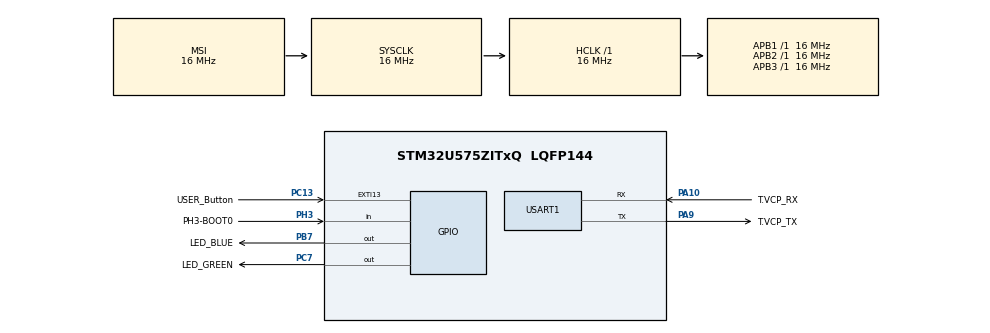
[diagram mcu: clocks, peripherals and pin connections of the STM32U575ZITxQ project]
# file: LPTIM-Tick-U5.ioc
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CORTEX_M33_NS.userName=CORTEX_M33
Mcu.Family=STM32U5
Mcu.Name=STM32U575ZITxQ
Mcu.Package=LQFP144
NVIC.EXTI13_IRQn=true\:15\:0\:true\:false\:true\:true\:true\:true
NVIC.LPTIM3_IRQn=true\:15\:0\:true\:false\:true\:true\:true\:true
NVIC.PriorityGroup=NVIC_PRIORITYGROUP_4
NVIC.TIM17_IRQn=true\:15\:0\:false\:false\:true\:false\:true\:true
NVIC.TimeBase=TIM17_IRQn
NVIC.TimeBaseIP=TIM17
NVIC.USART1_IRQn=true\:15\:0\:true\:false\:true\:true\:true\:true
PA10.GPIO_Label=T.VCP_RX
PA10.Mode=Asynchronous
PA10.Signal=USART1_RX
PA13\ (JTMS/SWDIO).GPIO_Label=T.SWDIO
PA13\ (JTMS/SWDIO).Mode=Trace_Asynchronous_SW
PA13\ (JTMS/SWDIO).Signal=DEBUG_JTMS-SWDIO
PA14\ (JTCK/SWCLK).GPIO_Label=T.SWCLK
PA14\ (JTCK/SWCLK).Mode=Trace_Asynchronous_SW
PA14\ (JTCK/SWCLK).Signal=DEBUG_JTCK-SWCLK
PA9.GPIO_Label=T.VCP_TX
PA9.Mode=Asynchronous
PA9.Signal=USART1_TX
PB3\ (JTDO/TRACESWO).GPIO_Label=T.SWO
PB3\ (JTDO/TRACESWO).Mode=Trace_Asynchronous_SW
PB3\ (JTDO/TRACESWO).Signal=DEBUG_JTDO-SWO
PB7.GPIO_Label=LED_BLUE
PB7.Signal=GPIO_Output
PC13.GPIO_Label=USER_Button
PC13.GPIO_ModeDefaultEXTI=GPIO_MODE_IT_RISING
PC13.Signal=GPXTI13
PC14-OSC32_IN\ (PC14).GPIO_Label=PC14-OSC32_IN
PC14-OSC32_IN\ (PC14).Mode=LSE-External-Oscillator
PC14-OSC32_IN\ (PC14).Signal=RCC_OSC32_IN
PC15-OSC32_OUT\ (PC15).GPIO_Label=PC15-OSC32_OUT
PC15-OSC32_OUT\ (PC15).Mode=LSE-External-Oscillator
PC15-OSC32_OUT\ (PC15).Signal=RCC_OSC32_OUT
PC7.GPIO_Label=LED_GREEN
PC7.Signal=GPIO_Output
PH3-BOOT0.GPIO_Label=PH3-BOOT0
PH3-BOOT0.Signal=GPIO_Input
PWR.PowerMode=PWR_SMPS_SUPPLY
ProjectManager.HeapSize=0x200
ProjectManager.StackSize=0x400
ProjectManager.TargetToolchain=Makefile
RCC.ADCFreq_Value=16000000
RCC.AHBFreq_Value=16000000
RCC.APB1Freq_Value=16000000
RCC.APB1TimFreq_Value=16000000
RCC.APB2Freq_Value=16000000
RCC.APB2TimFreq_Value=16000000
RCC.APB3Freq_Value=16000000
RCC.CortexFreq_Value=16000000
RCC.DACCLockSelectionVirtual=RCC_DAC1CLKSOURCE_LSI
RCC.EPOD_VALUE=16000000
RCC.FLatency=FLASH_LATENCY_1
RCC.HCLKFreq_Value=16000000
RCC.HSE_VALUE=16000000
RCC.HSI48_VALUE=48000000
RCC.HSI_VALUE=16000000
RCC.LPTIM3CLockSelectionVirtual=RCC_LPTIM34CLKSOURCE_LSE
RCC.LSE_Drive_Capability=RCC_LSEDRIVE_MEDIUMHIGH
RCC.LSIDIV_VALUE=32000
RCC.MSIAutoCalibration=PLLMODE_MSIS
RCC.MSIClockRange=RCC_MSIRANGE_2
RCC.MSIPLLFAST=false
RCC.MSI_VALUE=16000000
RCC.PLLN=80
RCC.PWR_Regulator_Voltage_Scale=PWR_REGULATOR_VOLTAGE_SCALE4
RCC.RTCClockSelection=RCC_RTCCLKSOURCE_LSE
RCC.SYSCLKFreq_VALUE=16000000
RCC.USBFreq_Value=48000000
RCC.VCOOutputFreq_Value=1280000000
RTC.AsynchPrediv=3
RTC.SynchPrediv=8191
USART1.VirtualMode-Asynchronous=VM_ASYNC
VP_LPBAMQUEUE_VS_QUEUE.Mode=QUEUEMODE
VP_LPBAM_VS_SIG1.Mode=SmartRun
VP_LPBAM_VS_SIG4.Mode=LPDMA1
VP_LPTIM3_VS_LPTIM_counterModeInternalClock.Mode=Counts__internal_clock_event_00
VP_MEMORYMAP_VS_MEMORYMAP.Mode=CurAppReg
VP_PWR_VS_DBSignals.Mode=DisableDeadBatterySignals
VP_PWR_VS_LPOM.Mode=PowerOptimisation
VP_PWR_VS_SECSignals.Mode=Security/Privilege
VP_RTC_VS_RTC_Activate.Mode=RTC_Enabled
VP_SYS_VS_tim17.Mode=TIM17
board=custom

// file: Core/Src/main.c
/* USER CODE BEGIN Header */
/**
  ******************************************************************************
  * @file           : main.c
  * @brief          : Main program body
  ******************************************************************************
  * @attention
  *
  * Copyright (c) 2022 STMicroelectronics.
  * All rights reserved.
  *
  * This software is licensed under terms that can be found in the LICENSE file
  * in the root directory of this software component.
  * If no LICENSE file comes with this software, it is provided AS-IS.
  *
  ******************************************************************************
  */
/* USER CODE END Header */
#include "main.h"

/* USER CODE BEGIN Includes */
#include "FreeRTOS.h"
#include "task.h"
#include "timers.h"
#include <stdio.h>
#include <string.h>
#include "testTickTiming.h"
#include "ulp.h"

/* USER CODE END Includes */

/* USER CODE BEGIN PD */
#define B1_Pin    USER_Button_Pin
#define B1_Port   USER_Button_GPIO_Port

#define LED_On    GPIO_PIN_RESET
#define LED_Off   GPIO_PIN_SET

#define NOTIFICATION_FLAG_B1_PIN    (1UL << 0)
#define NOTIFICATION_FLAG_LED_BLIP  (1UL << 1)
#define NOTIFICATION_FLAG_RESULTS   (1UL << 2)

#define STACK_DEPTH_MAIN_OS_TASK    256
#define TASK_PRIORITY_MAIN_OS_TASK  1

#define STACK_DEPTH_TT_OS_TASK      256
#define TASK_PRIORITY_TT_OS_TASK    2

/* USER CODE END PD */

LPTIM_HandleTypeDef hlptim3;

RTC_HandleTypeDef hrtc;

UART_HandleTypeDef huart1;

/* USER CODE BEGIN PV */

TaskHandle_t  mainTaskHandle;
TimerHandle_t ledTimerHandle;
TimerHandle_t resultsTimerHandle;

/* USER CODE END PV */

void SystemClock_Config(void);
static void SystemPower_Config(void);
static void MX_GPIO_Init(void);
static void MX_LPTIM3_Init(void);
static void MX_RTC_Init(void);
static void MX_USART1_UART_Init(void);
/* USER CODE BEGIN PFP */

static void mainOsTask(void* argument);
static void ledTimerCallback(TimerHandle_t argument);
static void resultsTimerCallback(TimerHandle_t argument);

/* USER CODE END PFP */

/* USER CODE BEGIN 0 */
#define DEMO_STATE_TEST_1  0
#define DEMO_STATE_TEST_2  1
#define DEMO_STATE_TEST_3  2
#define MAX_DEMO_STATE     DEMO_STATE_TEST_3
static void vSetDemoState( BaseType_t state )
{
   //      Assume for now that we're activating a demo state that doesn't need LPTIM3, our stress-test actor.
   //
   if (LPTIM3->CR & LPTIM_CR_ENABLE)
   {
      HAL_LPTIM_Counter_Stop_IT(&hlptim3);
   }

   uint32_t ledIntervalMs = 0;
   if (state == DEMO_STATE_TEST_1)
   {
      //      Demonstrate minimum energy consumption.  With configUSE_TICKLESS_IDLE == 2 (lptimTick.c), we
      // draw only 9uA, with full RAM retention, with RTC, and with FreeRTOS timers/timeouts/delays active.
      //
      ledIntervalMs = 5000UL;
      vTttSetEvalInterval( portMAX_DELAY );
      xTimerStop(resultsTimerHandle, 0);
   }
   else if (state == DEMO_STATE_TEST_2)
   {
      //      Instruct the tick-timing test to sample the tick timing every 10 milliseconds.  Sampling faster
      // would require that we open the pass/fail criteria to accommodate a couple hundred microseconds of
      // jitter or tick "jump" since that criteria is expressed as a percentage of the sampling interval.
      // Sampling much slower might allow large jitter or "jump" that should be caught as an error, again
      // because jitter is measured as a percentage of the sampling interval.
      //
      #define TICK_TEST_SAMPLING_INTERVAL_MS 10

      //      Demonstrate energy consumption waking every 10ms, and test the tick timing.
      //
      ledIntervalMs = 2000UL;
      vTttSetEvalInterval( pdMS_TO_TICKS(TICK_TEST_SAMPLING_INTERVAL_MS) );
      xTimerStart(resultsTimerHandle, 0);
   }
   else if (state == DEMO_STATE_TEST_3)
   {
      //      In state 2, add an actor to stress the tick timing.  Use LPTIM3 interrupts since that timer
      // keeps operating in STOP 2 mode, which allows us to keep demonstrating low-power operation.
      //
      //      A good long soak test is strongly recommended here.
      //
      HAL_LPTIM_Counter_Start_IT(&hlptim3);

      ledIntervalMs = 1000UL;
      vTttSetEvalInterval( pdMS_TO_TICKS(TICK_TEST_SAMPLING_INTERVAL_MS) );
      xTimerStart(resultsTimerHandle, 0);
   }
   else
   {
      configASSERT(0);
   }

   if (ledIntervalMs != 0)
   {
      xTimerChangePeriod(ledTimerHandle, ledIntervalMs, 0);
      xTaskNotify(mainTaskHandle, NOTIFICATION_FLAG_LED_BLIP, eSetBits);
   }

   char banner[100];
   int len = sprintf(banner, "\r\n\r\nRunning Test %d.", (int)state + 1);
   if (state != DEMO_STATE_TEST_1)
   {
      len += sprintf(&banner[len], "  Jumps are shown as %% of %d ms.\r\n",
                     TICK_TEST_SAMPLING_INTERVAL_MS);
   }
   HAL_UART_Transmit(&huart1, (uint8_t*)banner, len, HAL_MAX_DELAY);
}

static int lDescribeTickTestResults(TttResults_t* results, int periodNumber, char* dest)
{
   int durationSeconds = (results->durationSs + results->subsecondsPerSecond/2) / results->subsecondsPerSecond;
   return (sprintf(dest, "Period %d: %d s, drift: %d/%d s, jump: %+d%% (min), %+d%% (max)",
                   periodNumber,
                   durationSeconds,
                   (int)results->driftSs, (int) results->subsecondsPerSecond,
                   results->minDriftRatePct,
                   results->maxDriftRatePct));
}

static BaseType_t xUpdateResults( int xDemoState )
{
   static int resultsCount = 0;

   TttResults_t complete, inProgress;
   vTttGetResults(&complete, &inProgress);

   //      Build the results text here.  Use a "large" buffer because the results might require two lines of
   // terminal output.  The buffer is static so its contents remain valid even after we return from this
   // function.  In turn this allows us to return to our caller without waiting for the UART to finish.
   //
   static char textResults[200];
   static const char* const eraseLine = "\r\x1B[K";
   int resultsLen = sprintf(textResults, "%s", eraseLine);

   if (resultsCount != complete.resultsCounter)
   {
      resultsCount = complete.resultsCounter;
      if (resultsCount != 0)
      {
         resultsLen += lDescribeTickTestResults(&complete, resultsCount, &textResults[resultsLen]);
         resultsLen += sprintf(&textResults[resultsLen], "\r\n");
      }
   }

   resultsLen += lDescribeTickTestResults(&inProgress, resultsCount + 1, &textResults[resultsLen]);

   //      Send the results to the terminal.  In test 3, use interrupt-driven I/O with the terminal as
   // a way to enhance the stress test.  The interrupts induce a rapid sequence of early wake-ups from
   // tickless idle (if enabled).  This barrage of early wake-ups is a great stress test for the tickless
   // logic.  In the other demo states, use busy-wait I/O to avoid adding a test actor when we don't want one.
   //
   if (xDemoState == DEMO_STATE_TEST_3)
   {
      vUlpOnPeripheralsActive(ulpPERIPHERAL_USART1);
      HAL_UART_Transmit_IT(&huart1, (uint8_t*)textResults, resultsLen);
   }
   else
   {
      //      Because busy-wait I/O keeps this task "ready", it also prevents tickless idle, so we don't need
      // to bother notifying the ULP driver that the UART peripheral is active.
      //
      // vUlpOnPeripheralsActive(ulpPERIPHERAL_USART1);
      HAL_UART_Transmit(&huart1, (uint8_t*)textResults, resultsLen, HAL_MAX_DELAY);
      // vUlpOnPeripheralsInactive(ulpPERIPHERAL_USART1);
   }

   //      Apply some pass/fail criteria and report any failures.
   //
   #if ( configLPTIM_DIVIDER == 8 )
      #define TEST_LIMIT_PCT_JITTER_MIN -3
      #define TEST_LIMIT_PCT_JITTER_MAX +5
   #else
      #define TEST_LIMIT_PCT_JITTER_MIN -2
      #define TEST_LIMIT_PCT_JITTER_MAX +2
   #endif
   BaseType_t isFailure = pdFALSE;
   if (inProgress.minDriftRatePct < TEST_LIMIT_PCT_JITTER_MIN ||
       inProgress.maxDriftRatePct > TEST_LIMIT_PCT_JITTER_MAX)
   {
      isFailure = pdTRUE;
   }

   return (isFailure);
}

void HAL_UART_TxCpltCallback(UART_HandleTypeDef *huart)
{
   vUlpOnPeripheralsInactiveFromISR(ulpPERIPHERAL_USART1);
}

void vBlipLed( uint32_t ms )
{
   HAL_GPIO_WritePin(LED_GREEN_GPIO_Port, LED_GREEN_Pin, LED_On);
   vTaskDelay(pdMS_TO_TICKS(ms));
   HAL_GPIO_WritePin(LED_GREEN_GPIO_Port, LED_GREEN_Pin, LED_Off);
}

/* USER CODE END 0 */

int main(void)
{

  /* MCU Configuration--------------------------------------------------------*/

  /* Reset of all peripherals, Initializes the Flash interface and the Systick. */
  HAL_Init();

  /* USER CODE BEGIN Init */

  //      Correct a bug in CubeMX.  We selected MSIS auto-calibration (not MSIK), but CubeMX fails to set
  // MSIPLLSEL as required.  So we do it here ourselves -- and *before* PLL mode becomes enabled.
  //
  RCC->CR |= RCC_CR_MSIPLLSEL;

  /* USER CODE END Init */

  /* Configure the system clock */
  SystemClock_Config();

  /* Configure the System Power */
  SystemPower_Config();

  /* USER CODE BEGIN SysInit */

  #if (configSYSTICK_CLOCK_HZ == LSE_VALUE)
  {
    //      Select the 32kHz LSE clock as the "other" SysTick clock.  FreeRTOS selects this "other" clock for
    // SysTick when we define configSYSTICK_CLOCK_HZ.  The default selection for the "other" clock after reset
    // is the CPU clock divided by 8.
    //
    MODIFY_REG(RCC->CCIPR1, RCC_CCIPR1_SYSTICKSEL_Msk, RCC_CCIPR1_SYSTICKSEL_1);
  }
  #endif

  vUlpInit();

  /* USER CODE END SysInit */

  /* Initialize all configured peripherals */
  MX_GPIO_Init();
  MX_LPTIM3_Init();
  MX_RTC_Init();
  MX_USART1_UART_Init();
  /* USER CODE BEGIN 2 */

  //      Start with the green and blue LEDs off.
  //
  HAL_GPIO_WritePin(LED_GREEN_GPIO_Port, LED_GREEN_Pin, LED_Off);
  HAL_GPIO_WritePin(LED_BLUE_GPIO_Port, LED_BLUE_Pin, LED_Off);

  //      Carefully select the interval of the nuisance interrupts to be slightly longer than the tick-
  // test sampling interval.  The sampling interval drives the "expected idle time" in the tickless logic,
  // so a nuisance interval slightly longer ensures lots of different interrupt timing, including some
  // tickless periods lasting the full expected idle time.  For example, with a 10ms sampling interval,
  // there are 327.68 LSE cycles between samplings, on average.  The code below would set up the nuisance
  // interrupt to be every 328 LSE cycles for that case.  (The value passed to the HAL is 327, but the
  // period ends up being 328 due to LPTIM reload behavior.)
  //
  hlptim3.Init.Period = (TICK_TEST_SAMPLING_INTERVAL_MS * LSE_VALUE) / 1000U;
  HAL_LPTIM_Init(&hlptim3);

  #if (configUSE_TICKLESS_IDLE != 2)
  {
    //      The tick-timing tests make more accurate evaluations of the tick timing when FreeRTOS has the best
    // possible value in configCPU_CLOCK_HZ.  Since we define that symbol as SystemCoreClock, we update
    // SystemCoreClock here.  This code helped us "prove" that the MSI PLL behaves like a real PLL (albeit a
    // very jittery one).  There's "no" tick drift as measured by the RTC when tickless idle is disabled and
    // the MSI is in PLL mode driving the core clock.
    //
    //      We don't care if the HAL reverts this change at some point later during the application execution.
    // We only want this updated value to endure long enough for FreeRTOS startup code to use it to calculate
    // the tick timing.
    //
    if (RCC->CR & RCC_CR_MSIPLLEN)  // App Specific.  Assumes MSIPLLEN being set means MSI is the core clock.
    {
      int pllModeMultiplier = ( SystemCoreClock + (LSE_VALUE/4) ) / (LSE_VALUE/2);
      SystemCoreClock = (LSE_VALUE/2) * pllModeMultiplier;
    }
  }
  #endif

  resultsTimerHandle = xTimerCreate("Results", pdMS_TO_TICKS(1000UL), pdTRUE, NULL, resultsTimerCallback);
  ledTimerHandle = xTimerCreate("LED", 1, pdTRUE, NULL, ledTimerCallback);

  xTaskCreate(mainOsTask, "App", STACK_DEPTH_MAIN_OS_TASK, NULL, TASK_PRIORITY_MAIN_OS_TASK, &mainTaskHandle);
  xTaskCreate(vTttOsTask, "TickTest", STACK_DEPTH_TT_OS_TASK, &hrtc, TASK_PRIORITY_TT_OS_TASK, NULL);

  vTaskStartScheduler();

  /* USER CODE END 2 */

  /* Infinite loop */
  while (1)
  {

  }
}

void SystemClock_Config(void)
{
  RCC_OscInitTypeDef RCC_OscInitStruct = {0};
  RCC_ClkInitTypeDef RCC_ClkInitStruct = {0};

  /** Configure the main internal regulator output voltage
  */
  if (HAL_PWREx_ControlVoltageScaling(PWR_REGULATOR_VOLTAGE_SCALE4) != HAL_OK)
  {
    Error_Handler();
  }

  /** Configure LSE Drive Capability
  */
  HAL_PWR_EnableBkUpAccess();
  __HAL_RCC_LSEDRIVE_CONFIG(RCC_LSEDRIVE_MEDIUMHIGH);

  /** Initializes the CPU, AHB and APB buses clocks
  */
  RCC_OscInitStruct.OscillatorType = RCC_OSCILLATORTYPE_LSE|RCC_OSCILLATORTYPE_MSI;
  RCC_OscInitStruct.LSEState = RCC_LSE_ON;
  RCC_OscInitStruct.MSIState = RCC_MSI_ON;
  RCC_OscInitStruct.MSICalibrationValue = RCC_MSICALIBRATION_DEFAULT;
  RCC_OscInitStruct.MSIClockRange = RCC_MSIRANGE_2;
  RCC_OscInitStruct.PLL.PLLState = RCC_PLL_NONE;
  if (HAL_RCC_OscConfig(&RCC_OscInitStruct) != HAL_OK)
  {
    Error_Handler();
  }

  /** Initializes the CPU, AHB and APB buses clocks
  */
  RCC_ClkInitStruct.ClockType = RCC_CLOCKTYPE_HCLK|RCC_CLOCKTYPE_SYSCLK
                              |RCC_CLOCKTYPE_PCLK1|RCC_CLOCKTYPE_PCLK2
                              |RCC_CLOCKTYPE_PCLK3;
  RCC_ClkInitStruct.SYSCLKSource = RCC_SYSCLKSOURCE_MSI;
  RCC_ClkInitStruct.AHBCLKDivider = RCC_SYSCLK_DIV1;
  RCC_ClkInitStruct.APB1CLKDivider = RCC_HCLK_DIV1;
  RCC_ClkInitStruct.APB2CLKDivider = RCC_HCLK_DIV1;
  RCC_ClkInitStruct.APB3CLKDivider = RCC_HCLK_DIV1;

  if (HAL_RCC_ClockConfig(&RCC_ClkInitStruct, FLASH_LATENCY_1) != HAL_OK)
  {
    Error_Handler();
  }

  /** Enable MSI Auto calibration
  */
  HAL_RCCEx_EnableMSIPLLModeSelection(RCC_MSISPLL_MODE_SEL);
  HAL_RCCEx_EnableMSIPLLMode();
}

/**
  * @brief Power Configuration
  * @retval None
  */
static void SystemPower_Config(void)
{

  /*
   * Disable the internal Pull-Up in Dead Battery pins of UCPD peripheral
   */
  HAL_PWREx_DisableUCPDDeadBattery();

  /*
   * Switch to SMPS regulator instead of LDO
   */
  if (HAL_PWREx_ConfigSupply(PWR_SMPS_SUPPLY) != HAL_OK)
  {
    Error_Handler();
  }
}

static void MX_LPTIM3_Init(void)
{

  hlptim3.Instance = LPTIM3;
  hlptim3.Init.Clock.Source = LPTIM_CLOCKSOURCE_APBCLOCK_LPOSC;
  hlptim3.Init.Clock.Prescaler = LPTIM_PRESCALER_DIV1;
  hlptim3.Init.Trigger.Source = LPTIM_TRIGSOURCE_SOFTWARE;
  hlptim3.Init.Period = 65535;
  hlptim3.Init.UpdateMode = LPTIM_UPDATE_IMMEDIATE;
  hlptim3.Init.CounterSource = LPTIM_COUNTERSOURCE_INTERNAL;
  hlptim3.Init.Input1Source = LPTIM_INPUT1SOURCE_GPIO;
  hlptim3.Init.Input2Source = LPTIM_INPUT2SOURCE_GPIO;
  hlptim3.Init.RepetitionCounter = 0;
  if (HAL_LPTIM_Init(&hlptim3) != HAL_OK)
  {
    Error_Handler();
  }

}

static void MX_RTC_Init(void)
{

  RTC_PrivilegeStateTypeDef privilegeState = {0};

  /** Initialize RTC Only
  */
  hrtc.Instance = RTC;
  hrtc.Init.HourFormat = RTC_HOURFORMAT_24;
  hrtc.Init.AsynchPrediv = 3;
  hrtc.Init.SynchPrediv = 8191;
  hrtc.Init.OutPut = RTC_OUTPUT_DISABLE;
  hrtc.Init.OutPutRemap = RTC_OUTPUT_REMAP_NONE;
  hrtc.Init.OutPutPolarity = RTC_OUTPUT_POLARITY_HIGH;
  hrtc.Init.OutPutType = RTC_OUTPUT_TYPE_OPENDRAIN;
  hrtc.Init.OutPutPullUp = RTC_OUTPUT_PULLUP_NONE;
  hrtc.Init.BinMode = RTC_BINARY_NONE;
  if (HAL_RTC_Init(&hrtc) != HAL_OK)
  {
    Error_Handler();
  }
  privilegeState.rtcPrivilegeFull = RTC_PRIVILEGE_FULL_NO;
  privilegeState.backupRegisterPrivZone = RTC_PRIVILEGE_BKUP_ZONE_NONE;
  privilegeState.backupRegisterStartZone2 = RTC_BKP_DR0;
  privilegeState.backupRegisterStartZone3 = RTC_BKP_DR0;
  if (HAL_RTCEx_PrivilegeModeSet(&hrtc, &privilegeState) != HAL_OK)
  {
    Error_Handler();
  }

}

static void MX_USART1_UART_Init(void)
{

  huart1.Instance = USART1;
  huart1.Init.BaudRate = 115200;
  huart1.Init.WordLength = UART_WORDLENGTH_8B;
  huart1.Init.StopBits = UART_STOPBITS_1;
  huart1.Init.Parity = UART_PARITY_NONE;
  huart1.Init.Mode = UART_MODE_TX_RX;
  huart1.Init.HwFlowCtl = UART_HWCONTROL_NONE;
  huart1.Init.OverSampling = UART_OVERSAMPLING_16;
  huart1.Init.OneBitSampling = UART_ONE_BIT_SAMPLE_DISABLE;
  huart1.Init.ClockPrescaler = UART_PRESCALER_DIV1;
  huart1.AdvancedInit.AdvFeatureInit = UART_ADVFEATURE_NO_INIT;
  if (HAL_UART_Init(&huart1) != HAL_OK)
  {
    Error_Handler();
  }
  if (HAL_UARTEx_SetTxFifoThreshold(&huart1, UART_TXFIFO_THRESHOLD_1_8) != HAL_OK)
  {
    Error_Handler();
  }
  if (HAL_UARTEx_SetRxFifoThreshold(&huart1, UART_RXFIFO_THRESHOLD_1_8) != HAL_OK)
  {
    Error_Handler();
  }
  if (HAL_UARTEx_DisableFifoMode(&huart1) != HAL_OK)
  {
    Error_Handler();
  }

}

static void MX_GPIO_Init(void)
{
  GPIO_InitTypeDef GPIO_InitStruct = {0};

  /* GPIO Ports Clock Enable */
  __HAL_RCC_GPIOC_CLK_ENABLE();
  __HAL_RCC_GPIOA_CLK_ENABLE();
  __HAL_RCC_GPIOB_CLK_ENABLE();
  __HAL_RCC_GPIOH_CLK_ENABLE();

  /*Configure GPIO pin Output Level */
  HAL_GPIO_WritePin(LED_GREEN_GPIO_Port, LED_GREEN_Pin, GPIO_PIN_RESET);

  /*Configure GPIO pin Output Level */
  HAL_GPIO_WritePin(LED_BLUE_GPIO_Port, LED_BLUE_Pin, GPIO_PIN_RESET);

  /*Configure GPIO pin : USER_Button_Pin */
  GPIO_InitStruct.Pin = USER_Button_Pin;
  GPIO_InitStruct.Mode = GPIO_MODE_IT_RISING;
  GPIO_InitStruct.Pull = GPIO_NOPULL;
  HAL_GPIO_Init(USER_Button_GPIO_Port, &GPIO_InitStruct);

  /*Configure GPIO pin : LED_GREEN_Pin */
  GPIO_InitStruct.Pin = LED_GREEN_Pin;
  GPIO_InitStruct.Mode = GPIO_MODE_OUTPUT_PP;
  GPIO_InitStruct.Pull = GPIO_NOPULL;
  GPIO_InitStruct.Speed = GPIO_SPEED_FREQ_LOW;
  HAL_GPIO_Init(LED_GREEN_GPIO_Port, &GPIO_InitStruct);

  /*Configure GPIO pin : LED_BLUE_Pin */
  GPIO_InitStruct.Pin = LED_BLUE_Pin;
  GPIO_InitStruct.Mode = GPIO_MODE_OUTPUT_PP;
  GPIO_InitStruct.Pull = GPIO_NOPULL;
  GPIO_InitStruct.Speed = GPIO_SPEED_FREQ_LOW;
  HAL_GPIO_Init(LED_BLUE_GPIO_Port, &GPIO_InitStruct);

  /*Configure GPIO pin : PH3_BOOT0_Pin */
  GPIO_InitStruct.Pin = PH3_BOOT0_Pin;
  GPIO_InitStruct.Mode = GPIO_MODE_INPUT;
  GPIO_InitStruct.Pull = GPIO_NOPULL;
  HAL_GPIO_Init(PH3_BOOT0_GPIO_Port, &GPIO_InitStruct);

  /* EXTI interrupt init*/
  HAL_NVIC_SetPriority(EXTI13_IRQn, 15, 0);
  HAL_NVIC_EnableIRQ(EXTI13_IRQn);

}

/* USER CODE BEGIN 4 */

static void mainOsTask(void* argument)
{
   //      Stop the timer that provides the HAL tick.  Now it won't needlessly interrupt tickless idle periods
   // that use sleep mode.  (The HAL tick already can't interrupt tickless idle periods that use stop mode,
   // because the HAL timer doesn't operate in stop mode.)  In a real application, the HAL tick might be
   // required by the HAL even after FreeRTOS has control.  It's still best to stop the timer here, and then
   // define HAL_GetTick() and HAL_Delay() to use the FreeRTOS tick (and delay) once available.
   //
   //      We don't call HAL_SuspendTick() here because that function leaves TIM17 enabled and running for no
   // reason.
   //
   TIM17->CR1 &= ~TIM_CR1_CEN;  // wish CubeMX would generate a symbol for the HAL tick timer

   //      Be sure LPTIM3 ignores its input clock when the debugger stops program execution, and be sure its
   // kernel clock keeps running in STOP2 mode.
   //
   taskDISABLE_INTERRUPTS();
   DBGMCU->APB3FZR |= DBGMCU_APB3FZR_DBG_LPTIM3_STOP;
   RCC->SRDAMR |= RCC_SRDAMR_LPTIM3AMEN;
   taskENABLE_INTERRUPTS();

   //      Start the demo on test 1.
   //
   BaseType_t xDemoState = DEMO_STATE_TEST_1;
   vSetDemoState(xDemoState);

   int isFailureDetected = pdFALSE;
   uint32_t notificationFlags;
   for(;;)
   {
      //      Wait forever for any notification.
      //
      xTaskNotifyWait(0, UINT32_MAX, &notificationFlags, portMAX_DELAY);

      if (notificationFlags & NOTIFICATION_FLAG_B1_PIN)
      {
         //      Advance the demo state in response to the button press.  Clear any previous test failures.
         //
         if (++xDemoState > MAX_DEMO_STATE )
         {
            xDemoState = DEMO_STATE_TEST_1;
         }

         vSetDemoState(xDemoState);

         isFailureDetected = pdFALSE;
      }

      if (notificationFlags & NOTIFICATION_FLAG_RESULTS)
      {
         //      Make failure detections "sticky" so an observer can rely on the LED even for past failures.
         // We clear past failures when we advance the demo state above (for a button press).
         //
         if (xUpdateResults( xDemoState ))
         {
            isFailureDetected = pdTRUE;
         }
      }

      if (notificationFlags & NOTIFICATION_FLAG_LED_BLIP)
      {
         //      Blip the LED for 100ms.  Blip twice if the test has failed.
         //
         vBlipLed(100UL);
         if (isFailureDetected)
         {
            vTaskDelay(pdMS_TO_TICKS(100UL));
            vBlipLed(100UL);
         }
      }
  }
}

static void ledTimerCallback(TimerHandle_t argument)
{
   UNUSED(argument);

   if ( mainTaskHandle != NULL )
   {
      xTaskNotify( mainTaskHandle, NOTIFICATION_FLAG_LED_BLIP, eSetBits );
   }
}

static void resultsTimerCallback(TimerHandle_t argument)
{
   UNUSED(argument);

   if ( mainTaskHandle != NULL )
   {
      xTaskNotify( mainTaskHandle, NOTIFICATION_FLAG_RESULTS, eSetBits );
   }
}

void HAL_GPIO_EXTI_Rising_Callback(uint16_t GPIO_Pin)
{
   if (GPIO_Pin == B1_Pin)
   {
      //      Don't attempt to notify a task that isn't yet created.  Drop the button press instead.
      //
      if ( mainTaskHandle != NULL )
      {
         BaseType_t xWasHigherPriorityTaskWoken = pdFALSE;
         xTaskNotifyFromISR( mainTaskHandle, NOTIFICATION_FLAG_B1_PIN, eSetBits, &xWasHigherPriorityTaskWoken);
         portYIELD_FROM_ISR(xWasHigherPriorityTaskWoken);
      }
   }
}

void HAL_LPTIM_AutoReloadMatchCallback(LPTIM_HandleTypeDef *hlptim)
{
   //      The HAL calls this function when LPTIM3 has an ARR match event.  We use LPTIM3 as a stress-test
   // actor during test state 2.  This function has nothing to do with lptimTick.c or LPTIM1, but it does
   // help us *test* the tick timing provided by that code and that timer.

   //      Wake the main task, but for no reason.  We're just trying to stress test the tick timing.
   //
   BaseType_t xWasHigherPriorityTaskWoken = pdFALSE;
   xTaskNotifyFromISR( mainTaskHandle, 0, eNoAction, &xWasHigherPriorityTaskWoken);
   portYIELD_FROM_ISR(xWasHigherPriorityTaskWoken);
}

void vApplicationMallocFailedHook( void )
{
   Error_Handler();
}

/* USER CODE END 4 */

void HAL_TIM_PeriodElapsedCallback(TIM_HandleTypeDef *htim)
{
  if (htim->Instance == TIM17) {
    HAL_IncTick();
  }
}

void Error_Handler(void)
{
  __disable_irq();
  while (1)
  {
  }
}
